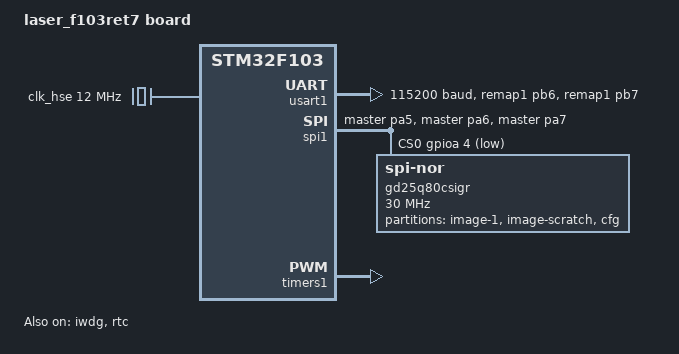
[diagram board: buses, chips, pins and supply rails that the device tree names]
/*
 * Copyright (c) 2020 WuhanStudio
 *
 * SPDX-License-Identifier: Apache-2.0
 */

/dts-v1/;
#include <st/f1/stm32f103Xe.dtsi>
#include <st/f1/stm32f103r(c-d-e)tx-pinctrl.dtsi>

/ {
	model = "laser_f103ret7 board";
	compatible = "stm32f103";

	chosen {
		zephyr,console = &usart1;
		zephyr,shell-uart = &usart1;
		zephyr,sram = &sram0;
		zephyr,flash = &flash0;
		zephyr,code-partition = &slot0_partition;
	};
};

&clk_lsi {
	status = "okay";
};

&clk_hse {
	clock-frequency = <DT_FREQ_M(12)>;
	status = "okay";
};

&pll {
	mul = <6>;
	clocks = <&clk_hse>;
	status = "okay";
};

&rcc {
	clocks = <&pll>;
	clock-frequency = <DT_FREQ_M(72)>;
	ahb-prescaler = <1>;
	apb1-prescaler = <2>;
	apb2-prescaler = <1>;
	/* usbpre not set: USB clock = 72 / 1.5: 48MHz */
};

&usart1 {
	pinctrl-0 = <&usart1_tx_remap1_pb6 &usart1_rx_remap1_pb7>;
	pinctrl-names = "default";
	current-speed = <115200>;
	status = "okay";
};

&spi1 {
	pinctrl-0 = <&spi1_sck_master_pa5
		     &spi1_miso_master_pa6 &spi1_mosi_master_pa7>;
	pinctrl-names = "default";
	cs-gpios = <&gpioa 4 GPIO_ACTIVE_LOW>;
	status = "okay";
	gd25q80csigr: gd25q80csigr@0 {
		compatible = "jedec,spi-nor";
		reg = <0x0>;
		spi-max-frequency = <30000000>;
		size = <0x800000>;
		jedec-id = [c8 40 14];
		partitions {
			compatible = "fixed-partitions";
			#address-cells = <1>;
			#size-cells = <1>;

			slot1_partition: partition@0 {
				label = "image-1";
				reg = <0x00000000 DT_SIZE_K(448)>;
			};
			scratch_partition: partition@80000 {
				label = "image-scratch";
				reg = <0x00080000 DT_SIZE_K(256)>;
			};
			cfg_partition: partition@C0000 {
				label = "cfg";
				reg = <0x000C0000 DT_SIZE_K(256)>;
			};
		};
	};
};

&iwdg {
	status = "okay";
};

&timers1 {
	st,prescaler = <10000>;
	status = "okay";

	pwm1: pwm {
		status = "okay";
		pinctrl-0 = <&tim1_ch1_pwm_out_pa8>;
		pinctrl-names = "default";
	};
};

&rtc {
	clocks = <&rcc STM32_CLOCK_BUS_APB1 0x10000000>,
		 <&rcc STM32_SRC_LSI RTC_SEL(2)>;
	status = "okay";
};

&flash0 {
	partitions {
		compatible = "fixed-partitions";
		#address-cells = <1>;
		#size-cells = <1>;

		boot_partition: partition@0 {
			label = "mcuboot";
			reg = <0x00000000 DT_SIZE_K(64)>;
			read-only;
		};

		slot0_partition: partition@10000 {
			label = "image-0";
			reg = <0x00010000 DT_SIZE_K(448)>;
		};
	};
};


